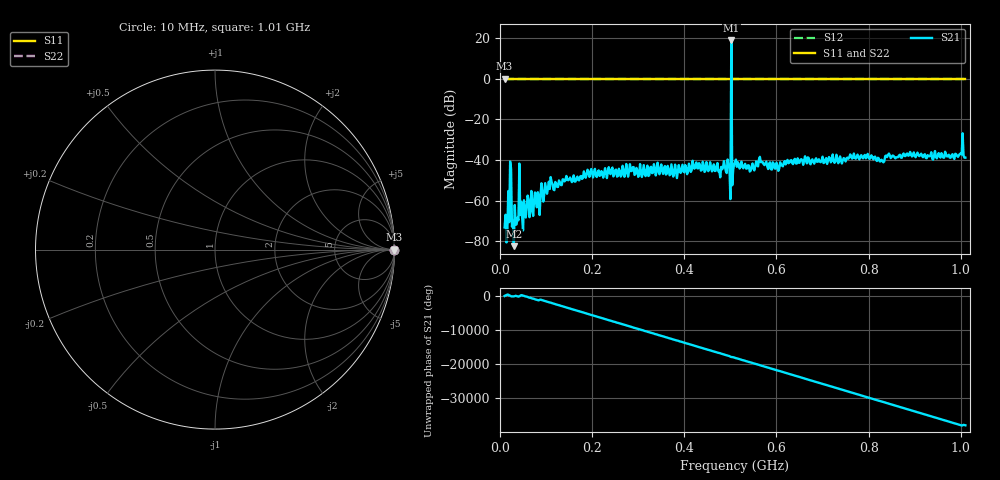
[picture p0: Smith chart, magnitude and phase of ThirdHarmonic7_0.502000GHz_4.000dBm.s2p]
! 8/17/2025 2:24:43 PM
! C:\ANRITSUVNA\TEMP\TEMP.S2P
! CHANNEL.1
! TR.MEASUREMENT
! RAW.DATA
! RF.CORRECTION.OFF
! AVERAGING.OFF
! IF.BANDWIDTH: 5KHZ
! SWEEPTYPE:  FREQ.SWEEP(Linear)
! Reference Plane Port Info
! PORT:  PORT1  PORT2
! DISTANCE:  0  m  0  m
! TIME:  0  s  0  s
! PHASE.OFFSET:  0  deg.  0  deg.
! LOSS:  0  dB  0  dB
! REF.LOSS:  0  dB  0  dB
! REF.FREQ:  0  Hz  0  Hz
! Power Info
! POWER:  -20  dBm  -20  dBm
! EFF.POWER:  -20  dBm  -20  dBm
! SOURCE.ATTEN:  0  dB  0  dB
! TEST.ATTEN:  0  dB  0  dB
# GHZ S RI R 50.0
! FREQ.GHZ  S11RE  S11IM  S21RE  S21IM  S12RE  S12IM  S22RE  S22IM
!; PortSelection: Port_12
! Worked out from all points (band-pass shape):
!   501 points, 10 MHz to 1.01 GHz, reference 50 ohm
!   highest |S21| = 18.81 dB at 502 MHz (marker M1); lowest = -82.5 dB at 30 MHz (marker M2)
!   |S21| within 3 dB of the highest: 501.9232 MHz to 502.0842 MHz (161 kHz wide, 0.0321 % of centre)
!   lowest |S11| = 0.0 dB at 10 MHz (marker M3)
!   |S11| at or under -10 dB: nowhere
!   |S22| runs from 0.0 to 0.0 dB; largest |S21 - S12| = 8.1
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0.01  1 0  -0.000118 -0.000183  1 0  1 0
0.016  1 0  8.38e-05 -0.000165  1 0  1 0
0.02  1 0  0.000101 0.000275  1 0  1 0
0.022  1 0  0.00799 -0.0044  1 0  1 0
0.03  1 0  -2.97e-05 6.9e-05  1 0  1 0
0.042  1 0  -0.00599 0.00546  1 0  1 0
0.052  1 0  0.000365 -0.000948  1 0  1 0
0.056  1 0  0.000105 0.000367  1 0  1 0
0.068  1 0  0.00151 -0.000817  1 0  1 0
0.11  1 0  9.11e-05 0.00377  1 0  1 0
0.178  1 0  -0.00334 -0.000623  1 0  1 0
0.344  1 0  0.00514 -0.00262  1 0  1 0
0.496  1 0  0.00683 0.000347  1 0  1 0
0.498  1 0  0.00311 -0.0058  1 0  1 0
0.502  1 0  5.626 6.656  1 0  1 0
0.506  1 0  0.00547 -0.0015  1 0  1 0
0.508  1 0  -0.000469 -0.00759  1 0  1 0
0.51  1 0  -0.00847 0.00191  1 0  1 0
0.678  1 0  -0.000353 -0.0103  1 0  1 0
0.844  1 0  0.00132 0.0143  1 0  1 0
1  1 0  0.00329 -0.014  1 0  1 0
1.01  1 0  -0.00435 -0.0104  1 0  1 0
